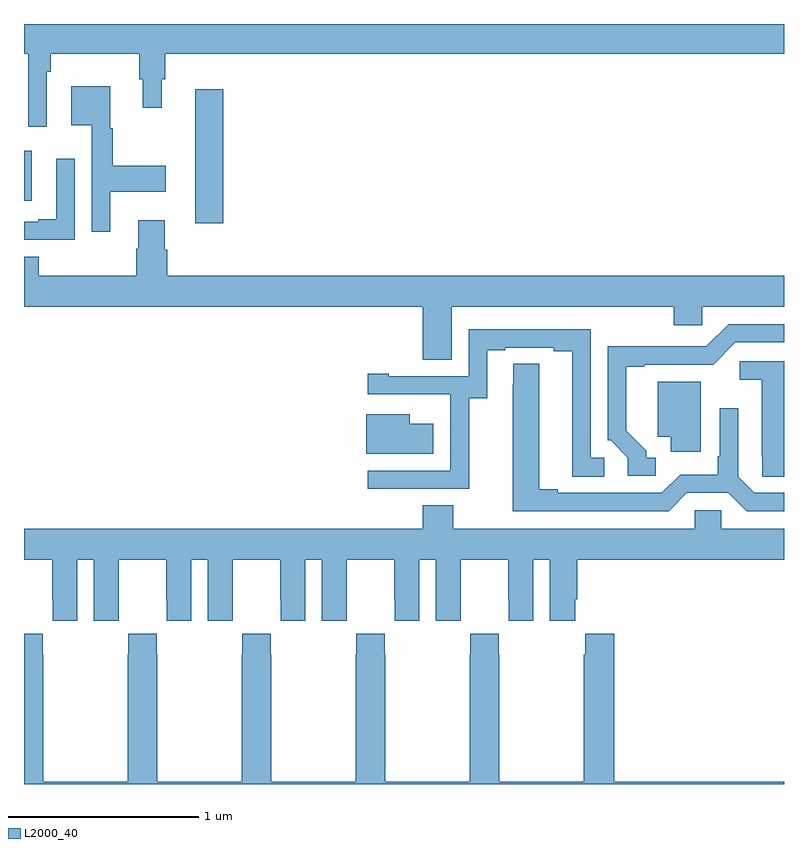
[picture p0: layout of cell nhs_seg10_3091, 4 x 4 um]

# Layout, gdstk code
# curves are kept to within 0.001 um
import gdstk
lib = gdstk.Library(unit=1e-6, precision=1e-09)
def R(c, l, rs):  # rectangles x0, y0, x1, y1
    for r in rs: c.add(gdstk.rectangle(r[:2], r[2:], *l))
def P(c, l, *ps):  # polygons
    for p in ps: c.add(gdstk.Polygon(p, *l))
L2000_40 = (2000, 40)

nhs_seg10_3091 = lib.new_cell('nhs_seg10_3091')
R(nhs_seg10_3091, L2000_40, [(279.902,1271.451,280.049,1272.157), (279,1271.57,279.04,1271.833)])
P(nhs_seg10_3091, L2000_40, [(279.12,1272.248),(279.14,1272.248),(279.14,1272.344),(279.607,1272.344),(279.607,1272.21),(279.626,1272.21),(279.626,1272.06),(279.724,1272.06),(279.724,1272.21),(279.743,1272.21),(279.743,1272.344),(283,1272.344),(283,1272.5),(279,1272.5),(279,1272.344),(279.023,1272.344),(279.023,1271.958),(279.12,1271.958)],
  [(279.454,1271.618),(279.745,1271.618),(279.745,1271.753),(279.466,1271.753),(279.466,1271.952),(279.454,1271.952),(279.454,1272.172),(279.248,1272.172),(279.248,1271.966),(279.357,1271.966),(279.357,1271.406),(279.454,1271.406)],
  [(279.267,1271.791),(279.17,1271.791),(279.17,1271.473),(279.074,1271.473),(279.074,1271.46),(279,1271.46),(279,1271.364),(279.267,1271.364)],
  [(281.251,1271.012),(282.419,1271.012),(282.419,1270.914),(282.57,1270.914),(282.57,1271.012),(283,1271.012),(283,1271.176),(279.755,1271.176),(279.755,1271.313),(279.742,1271.313),(279.742,1271.467),(279.602,1271.467),(279.602,1271.318),(279.59,1271.318),(279.59,1271.176),(279.077,1271.176),(279.077,1271.274),(279,1271.274),(279,1271.012),(281.099,1271.012),(281.099,1270.732),(281.251,1270.732)],
  [(282.325,1270.218),(282.274,1270.218),(282.274,1270.253),(282.169,1270.358),(282.169,1270.695),(282.265,1270.695),(282.265,1270.707),(282.627,1270.707),(282.744,1270.824),(283,1270.824),(283,1270.92),(282.708,1270.92),(282.591,1270.803),(282.335,1270.803),(282.335,1270.805),(282.072,1270.805),(282.072,1270.308),(282.087,1270.308),(282.177,1270.218),(282.177,1270.122),(282.325,1270.122)],
  [(281.343,1270.531),(281.437,1270.531),(281.437,1270.782),(281.533,1270.782),(281.533,1270.797),(281.789,1270.797),(281.789,1270.777),(281.885,1270.777),(281.885,1270.117),(282.055,1270.117),(282.055,1270.218),(281.982,1270.218),(281.982,1270.893),(281.34,1270.893),(281.34,1270.647),(280.921,1270.647),(280.921,1270.66),(280.809,1270.66),(280.809,1270.551),(281.243,1270.551),(281.243,1270.55),(281.244,1270.55),(281.244,1270.149),(280.809,1270.149),(280.809,1270.053),(281.343,1270.053)],
  [(283,1270.725),(282.768,1270.725),(282.768,1270.628),(282.884,1270.628),(282.884,1270.225),(282.885,1270.225),(282.885,1270.117),(283,1270.117)],
  [(282.489,1270.032),(282.707,1270.032),(282.803,1269.936),(283,1269.936),(283,1270.032),(282.843,1270.032),(282.759,1270.116),(282.759,1270.477),(282.663,1270.477),(282.663,1270.225),(282.651,1270.225),(282.651,1270.128),(282.453,1270.128),(282.357,1270.032),(281.809,1270.032),(281.809,1270.052),(281.713,1270.052),(281.713,1270.712),(281.574,1270.712),(281.573,1269.936),(282.393,1269.936)],
  [(282.562,1270.618),(282.335,1270.618),(282.335,1270.328),(282.404,1270.328),(282.404,1270.248),(282.562,1270.248)],
  [(281.155,1270.396),(281.029,1270.396),(281.029,1270.447),(280.802,1270.447),(280.802,1270.238),(281.155,1270.238)],
  [(281.259,1269.968),(281.099,1269.968),(281.099,1269.844),(279,1269.844),(279,1269.68),(279.149,1269.68),(279.149,1269.472),(279.15,1269.472),(279.15,1269.36),(279.28,1269.36),(279.28,1269.68),(279.368,1269.68),(279.368,1269.36),(279.498,1269.36),(279.498,1269.472),(279.499,1269.472),(279.499,1269.68),(279.749,1269.68),(279.749,1269.472),(279.75,1269.472),(279.75,1269.36),(279.88,1269.36),(279.88,1269.68),(279.968,1269.68),(279.968,1269.36),(280.098,1269.36),(280.098,1269.472),(280.099,1269.472),(280.099,1269.68),(280.349,1269.68),(280.349,1269.472),(280.35,1269.472),(280.35,1269.36),(280.48,1269.36),(280.48,1269.68),(280.568,1269.68),(280.568,1269.36),(280.698,1269.36),(280.698,1269.472),(280.699,1269.472),(280.699,1269.68),(280.949,1269.68),(280.949,1269.472),(280.95,1269.472),(280.95,1269.36),(281.08,1269.36),(281.08,1269.68),(281.168,1269.68),(281.168,1269.36),(281.298,1269.36),(281.298,1269.472),(281.299,1269.472),(281.299,1269.68),(281.549,1269.68),(281.549,1269.472),(281.55,1269.472),(281.55,1269.36),(281.68,1269.36),(281.68,1269.68),(281.768,1269.68),(281.768,1269.36),(281.902,1269.36),(281.902,1269.472),(281.912,1269.472),(281.912,1269.68),(283,1269.68),(283,1269.844),(282.669,1269.844),(282.669,1269.942),(282.531,1269.942),(282.531,1269.844),(281.259,1269.844)],
  [(283,1268.512),(282.107,1268.512),(282.107,1269.292),(281.953,1269.292),(281.953,1269.179),(281.947,1269.179),(281.947,1268.512),(281.502,1268.512),(281.502,1269.179),(281.499,1269.179),(281.499,1269.292),(281.349,1269.292),(281.349,1269.179),(281.347,1269.179),(281.347,1268.512),(280.902,1268.512),(280.902,1269.179),(280.899,1269.179),(280.899,1269.292),(280.749,1269.292),(280.749,1269.179),(280.747,1269.179),(280.747,1268.512),(280.302,1268.512),(280.302,1269.179),(280.299,1269.179),(280.299,1269.292),(280.149,1269.292),(280.149,1269.179),(280.147,1269.179),(280.147,1268.512),(279.702,1268.512),(279.702,1269.179),(279.699,1269.179),(279.699,1269.292),(279.549,1269.292),(279.549,1269.179),(279.547,1269.179),(279.547,1268.512),(279.102,1268.512),(279.102,1269.179),(279.099,1269.179),(279.099,1269.292),(279,1269.292),(279,1268.5),(283,1268.5)])

lib.write_gds('nhs_seg10_3091.gds')
